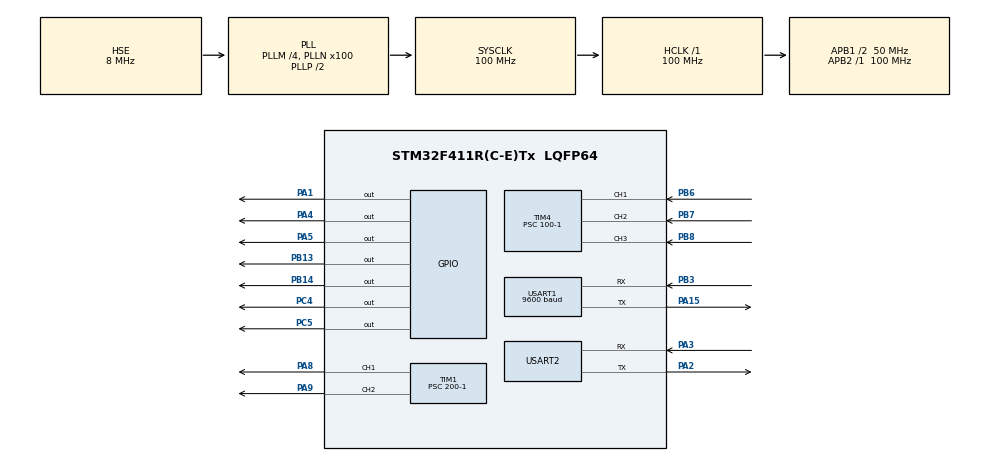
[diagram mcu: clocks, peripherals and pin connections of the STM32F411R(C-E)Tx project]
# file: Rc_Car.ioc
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Dma.Request0=USART1_RX
Dma.USART1_RX.0.Direction=DMA_PERIPH_TO_MEMORY
Dma.USART1_RX.0.FIFOMode=DMA_FIFOMODE_DISABLE
Dma.USART1_RX.0.Instance=DMA2_Stream2
Dma.USART1_RX.0.MemDataAlignment=DMA_MDATAALIGN_BYTE
Dma.USART1_RX.0.MemInc=DMA_MINC_ENABLE
Dma.USART1_RX.0.Mode=DMA_NORMAL
Dma.USART1_RX.0.PeriphDataAlignment=DMA_PDATAALIGN_BYTE
Dma.USART1_RX.0.PeriphInc=DMA_PINC_DISABLE
Dma.USART1_RX.0.Priority=DMA_PRIORITY_LOW
Mcu.Family=STM32F4
Mcu.Name=STM32F411R(C-E)Tx
Mcu.Package=LQFP64
NVIC.DMA2_Stream2_IRQn=true\:0\:0\:false\:false\:true\:false\:true\:true
NVIC.PriorityGroup=NVIC_PRIORITYGROUP_4
NVIC.TIM4_IRQn=true\:0\:0\:false\:false\:true\:true\:true\:true
NVIC.USART1_IRQn=true\:0\:0\:false\:false\:true\:true\:true\:true
NVIC.USART2_IRQn=true\:0\:0\:false\:false\:true\:true\:true\:true
PA1.GPIO_Speed=GPIO_SPEED_FREQ_HIGH
PA1.Signal=GPIO_Output
PA13.Mode=Serial_Wire
PA13.Signal=SYS_JTMS-SWDIO
PA14.Mode=Serial_Wire
PA14.Signal=SYS_JTCK-SWCLK
PA15.Mode=Asynchronous
PA15.Signal=USART1_TX
PA2.Mode=Asynchronous
PA2.Signal=USART2_TX
PA3.Mode=Asynchronous
PA3.Signal=USART2_RX
PA4.Signal=GPIO_Output
PA5.GPIO_Speed=GPIO_SPEED_FREQ_HIGH
PA5.Signal=GPIO_Output
PA8.Signal=S_TIM1_CH1
PA9.Signal=S_TIM1_CH2
PB13.GPIO_Speed=GPIO_SPEED_FREQ_HIGH
PB13.Signal=GPIO_Output
PB14.GPIO_Speed=GPIO_SPEED_FREQ_HIGH
PB14.Signal=GPIO_Output
PB3.Mode=Asynchronous
PB3.Signal=USART1_RX
PB6.Signal=S_TIM4_CH1
PB7.Signal=S_TIM4_CH2
PB8.Signal=S_TIM4_CH3
PC4.GPIO_Speed=GPIO_SPEED_FREQ_HIGH
PC4.Signal=GPIO_Output
PC5.GPIO_Speed=GPIO_SPEED_FREQ_HIGH
PC5.Signal=GPIO_Output
PH0\ -\ OSC_IN.Mode=HSE-External-Oscillator
PH0\ -\ OSC_IN.Signal=RCC_OSC_IN
PH1\ -\ OSC_OUT.Mode=HSE-External-Oscillator
PH1\ -\ OSC_OUT.Signal=RCC_OSC_OUT
ProjectManager.HeapSize=0x200
ProjectManager.StackSize=0x400
ProjectManager.TargetToolchain=STM32CubeIDE
RCC.48MHZClocksFreq_Value=50000000
RCC.AHBFreq_Value=100000000
RCC.APB1CLKDivider=RCC_HCLK_DIV2
RCC.APB1Freq_Value=50000000
RCC.APB1TimFreq_Value=100000000
RCC.APB2Freq_Value=100000000
RCC.APB2TimFreq_Value=100000000
RCC.CortexFreq_Value=100000000
RCC.HCLKFreq_Value=100000000
RCC.HSE_VALUE=8000000
RCC.HSI_VALUE=16000000
RCC.LSE_VALUE=32768
RCC.PLLM=4
RCC.PLLN=100
RCC.PLLSourceVirtual=RCC_PLLSOURCE_HSE
RCC.SYSCLKFreq_VALUE=100000000
RCC.SYSCLKSource=RCC_SYSCLKSOURCE_PLLCLK
RCC.VCOOutputFreq_Value=200000000
SH.S_TIM1_CH1.0=TIM1_CH1,PWM Generation1 CH1
SH.S_TIM1_CH2.0=TIM1_CH2,PWM Generation2 CH2
SH.S_TIM4_CH1.0=TIM4_CH1,Input_Capture1_from_TI1
SH.S_TIM4_CH2.0=TIM4_CH2,Input_Capture2_from_TI2
SH.S_TIM4_CH3.0=TIM4_CH3,Input_Capture3_from_TI3
TIM1.Channel-PWM\ Generation1\ CH1=TIM_CHANNEL_1
TIM1.Channel-PWM\ Generation2\ CH2=TIM_CHANNEL_2
TIM1.Period=1000-1
TIM1.Prescaler=200-1
TIM4.Channel-Input_Capture1_from_TI1=TIM_CHANNEL_1
TIM4.Channel-Input_Capture2_from_TI2=TIM_CHANNEL_2
TIM4.Channel-Input_Capture3_from_TI3=TIM_CHANNEL_3
TIM4.Prescaler=100-1
USART1.BaudRate=9600
USART1.VirtualMode=VM_ASYNC
USART2.VirtualMode=VM_ASYNC
VP_TIM11_VS_ClockSourceINT.Mode=Enable_Timer
VP_TIM1_VS_ClockSourceINT.Mode=Internal
VP_TIM4_VS_ClockSourceINT.Mode=Internal
board=custom

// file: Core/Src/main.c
/* USER CODE BEGIN Header */
/**
  ******************************************************************************
  * @file           : main.c
  * @brief          : Main program body
  ******************************************************************************
  * @attention
  *
  * Copyright (c) 2024 STMicroelectronics.
  * All rights reserved.
  *
  * This software is licensed under terms that can be found in the LICENSE file
  * in the root directory of this software component.
  * If no LICENSE file comes with this software, it is provided AS-IS.
  *
  ******************************************************************************
  */
/* USER CODE END Header */
#include "main.h"
#include "dma.h"
#include "tim.h"
#include "usart.h"
#include "gpio.h"

/* USER CODE BEGIN Includes */

#include "stdio.h"
#include "delay.h"
#include "ultrasonic.h"
#include "bt.h"
#include "motor.h"

/* USER CODE END Includes */

/* USER CODE BEGIN PM */
#ifdef __GNUC__
  /* With GCC, small printf (option LD Linker->Libraries->Small printf
     set to 'Yes') calls __io_putchar() */
  #define PUTCHAR_PROTOTYPE int __io_putchar(int ch)
#else
  #define PUTCHAR_PROTOTYPE int fputc(int ch, FILE *f)
#endif /* __GNUC__ */
PUTCHAR_PROTOTYPE
{
  /* Place your implementation of fputc here */
  /* e.g. write a character to the EVAL_COM1 and Loop until the end of transmission */
  HAL_UART_Transmit(&huart2, (uint8_t *)&ch, 1, 0xFFFF);
  return ch;
}
/* USER CODE END PM */

/* USER CODE BEGIN PV */

extern uint8_t leftDis,rightDis, centerDis;
extern uint8_t rxData[1];

uint8_t driveMode = 0;

/* USER CODE END PV */

void SystemClock_Config(void);

int main(void)
{

  /* MCU Configuration--------------------------------------------------------*/

  /* Reset of all peripherals, Initializes the Flash interface and the Systick. */
  HAL_Init();

  /* Configure the system clock */
  SystemClock_Config();

  /* Initialize all configured peripherals */
  MX_GPIO_Init();
  MX_DMA_Init();
  MX_TIM1_Init();
  MX_TIM4_Init();
  MX_TIM11_Init();
  MX_USART1_UART_Init();
  MX_USART2_UART_Init();
  /* USER CODE BEGIN 2 */

  HAL_TIM_Base_Start(&htim11);

  HAL_TIM_IC_Start_IT(&htim4, TIM_CHANNEL_1);
  HAL_TIM_IC_Start_IT(&htim4, TIM_CHANNEL_2);
  HAL_TIM_IC_Start_IT(&htim4, TIM_CHANNEL_3);

  HAL_UART_Receive_DMA(&huart1, rxData, sizeof(rxData));

  HAL_TIM_PWM_Start(&htim1, TIM_CHANNEL_1);
  HAL_TIM_PWM_Start(&htim1, TIM_CHANNEL_2);

  /* USER CODE END 2 */

  /* Infinite loop */
  while (1)
  {

    /* USER CODE BEGIN 3 */
	HCSR04_Left_Read();
	HAL_Delay(100);
	HCSR04_Right_Read();
	HAL_Delay(100);
	HCSR04_Center_Read();
	HAL_Delay(100);
	//printf(" LEFT : %d cm\n CENTER : %d cm\n RIGHT : %d cm\n",leftDis,centerDis,rightDis);
	HAL_Delay(100);

	if(rxData[0] == 'm')
	{
		driveMode = 0;
	}
	else if(rxData[0] == 'x')
	{
		driveMode = 1;
	}

	if(driveMode == 0)
	{
		manualMode();
	}
	else if(driveMode == 1)
	{
		autoMode();
	}

  }
  /* USER CODE END 3 */
}

void SystemClock_Config(void)
{
  RCC_OscInitTypeDef RCC_OscInitStruct = {0};
  RCC_ClkInitTypeDef RCC_ClkInitStruct = {0};

  /** Configure the main internal regulator output voltage
  */
  __HAL_RCC_PWR_CLK_ENABLE();
  __HAL_PWR_VOLTAGESCALING_CONFIG(PWR_REGULATOR_VOLTAGE_SCALE1);

  /** Initializes the RCC Oscillators according to the specified parameters
  * in the RCC_OscInitTypeDef structure.
  */
  RCC_OscInitStruct.OscillatorType = RCC_OSCILLATORTYPE_HSE;
  RCC_OscInitStruct.HSEState = RCC_HSE_ON;
  RCC_OscInitStruct.PLL.PLLState = RCC_PLL_ON;
  RCC_OscInitStruct.PLL.PLLSource = RCC_PLLSOURCE_HSE;
  RCC_OscInitStruct.PLL.PLLM = 4;
  RCC_OscInitStruct.PLL.PLLN = 100;
  RCC_OscInitStruct.PLL.PLLP = RCC_PLLP_DIV2;
  RCC_OscInitStruct.PLL.PLLQ = 4;
  if (HAL_RCC_OscConfig(&RCC_OscInitStruct) != HAL_OK)
  {
    Error_Handler();
  }

  /** Initializes the CPU, AHB and APB buses clocks
  */
  RCC_ClkInitStruct.ClockType = RCC_CLOCKTYPE_HCLK|RCC_CLOCKTYPE_SYSCLK
                              |RCC_CLOCKTYPE_PCLK1|RCC_CLOCKTYPE_PCLK2;
  RCC_ClkInitStruct.SYSCLKSource = RCC_SYSCLKSOURCE_PLLCLK;
  RCC_ClkInitStruct.AHBCLKDivider = RCC_SYSCLK_DIV1;
  RCC_ClkInitStruct.APB1CLKDivider = RCC_HCLK_DIV2;
  RCC_ClkInitStruct.APB2CLKDivider = RCC_HCLK_DIV1;

  if (HAL_RCC_ClockConfig(&RCC_ClkInitStruct, FLASH_LATENCY_3) != HAL_OK)
  {
    Error_Handler();
  }
}

void Error_Handler(void)
{
  __disable_irq();
  while (1)
  {
  }
}
